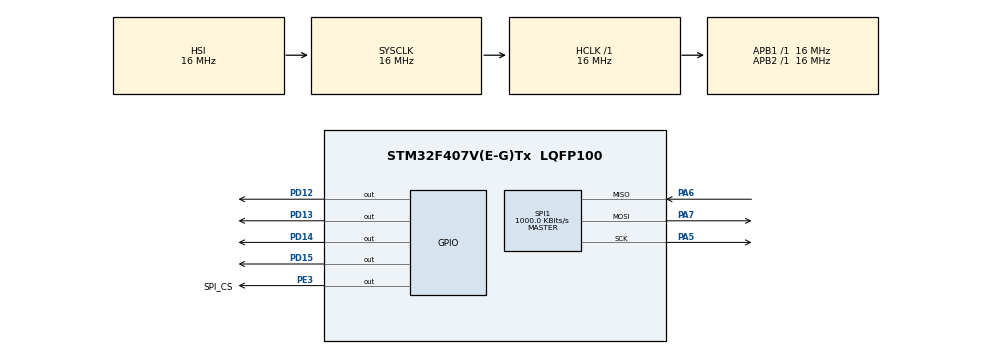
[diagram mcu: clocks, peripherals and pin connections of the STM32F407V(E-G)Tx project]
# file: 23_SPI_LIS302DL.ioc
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Mcu.Family=STM32F4
Mcu.Name=STM32F407V(E-G)Tx
Mcu.Package=LQFP100
NVIC.PriorityGroup=NVIC_PRIORITYGROUP_4
PA5.Mode=Full_Duplex_Master
PA5.Signal=SPI1_SCK
PA6.Mode=Full_Duplex_Master
PA6.Signal=SPI1_MISO
PA7.Mode=Full_Duplex_Master
PA7.Signal=SPI1_MOSI
PD12.Signal=GPIO_Output
PD13.Signal=GPIO_Output
PD14.Signal=GPIO_Output
PD15.Signal=GPIO_Output
PE3.GPIO_Label=SPI_CS
PE3.PinState=GPIO_PIN_SET
PE3.Signal=GPIO_Output
ProjectManager.HeapSize=0x200
ProjectManager.StackSize=0x400
ProjectManager.TargetToolchain=STM32CubeIDE
RCC.AHBFreq_Value=16000000
RCC.APB1Freq_Value=16000000
RCC.APB2Freq_Value=16000000
RCC.CortexFreq_Value=16000000
RCC.HSE_VALUE=25000000
RCC.HSI_VALUE=16000000
RCC.LSE_VALUE=32768
RCC.SYSCLKFreq_VALUE=16000000
RCC.VCOOutputFreq_Value=192000000
SPI1.BaudRatePrescaler=SPI_BAUDRATEPRESCALER_16
SPI1.CalculateBaudRate=1000.0 KBits/s
SPI1.DataSize=SPI_DATASIZE_8BIT
SPI1.Direction=SPI_DIRECTION_2LINES
SPI1.Mode=SPI_MODE_MASTER
SPI1.VirtualType=VM_MASTER
board=custom

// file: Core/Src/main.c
/* USER CODE BEGIN Header */
/**
 ******************************************************************************
 * @file           : main.c
 * @brief          : Main program body
 ******************************************************************************
 * @attention
 *
 * Copyright (c) 2026 STMicroelectronics.
 * All rights reserved.
 *
 * This software is licensed under terms that can be found in the LICENSE file
 * in the root directory of this software component.
 * If no LICENSE file comes with this software, it is provided AS-IS.
 *
 ******************************************************************************
 */
/* USER CODE END Header */
#include "main.h"

SPI_HandleTypeDef hspi1;

/* USER CODE BEGIN PV */
uint16_t X_axis, Y_Axis, Z_Axis;
uint8_t X_Low, X_High, Y_Low, Y_High, Z_Low, Z_High;

/* USER CODE END PV */

void SystemClock_Config(void);
static void MX_GPIO_Init(void);
static void MX_SPI1_Init(void);

/* USER CODE BEGIN 0 */
/*(#) TX/RX processes are HAL_SPI_TransmitReceive(), HAL_SPI_TransmitReceive_IT() and
 HAL_SPI_TransmitReceive_DMA()
 (#) RX processes are HAL_SPI_Receive(), HAL_SPI_Receive_IT() and HAL_SPI_Receive_DMA()
 (#) TX processes are HAL_SPI_Transmit(), HAL_SPI_Transmit_IT() and HAL_SPI_Transmit_DMA()
 */
SPI_Write_MEMS(uint8_t address, uint8_t data) {
	uint8_t txData[2] = { 0 };
	txData[0] = address;
	txData[1] = data;
	// cs pinini low yap
	HAL_GPIO_WritePin(SPI_CS_GPIO_Port, SPI_CS_Pin, GPIO_PIN_RESET); // aslında şu da aynı (GPIOE, GPIO_PIN_3, GPIO_PIN_RESET)
	// yazılacak veriyi  gönder
	HAL_SPI_Transmit(&hspi1, txData, 2, 1000);
	// CS pinini high yap
	HAL_GPIO_WritePin(SPI_CS_GPIO_Port, SPI_CS_Pin, GPIO_PIN_SET); // aslında şu da aynı (GPIOE, GPIO_PIN_3, GPIO_PIN_SET)

}

uint8_t SPI_Read_MEMS(uint8_t address) {

	uint8_t txData[1] = { 0 }, rxData[1] = { 0 };
	txData[0] = address | 0x80;   // MSB bitini 1 yaptık çünkü okuma yapmak için
	// cs pinini low yap
	HAL_GPIO_WritePin(SPI_CS_GPIO_Port, SPI_CS_Pin, GPIO_PIN_RESET); // aslında şu da aynı (GPIOE, GPIO_PIN_3, GPIO_PIN_RESET)
	// okunacak verin adersini gönder
	HAL_SPI_Transmit(&hspi1, txData, 1, 1000);
	// istenilen veriye al
	HAL_SPI_Receive(&hspi1, rxData, 1, 1000);
	// CS pinini high yap
	HAL_GPIO_WritePin(SPI_CS_GPIO_Port, SPI_CS_Pin, GPIO_PIN_SET); // aslında şu da aynı (GPIOE, GPIO_PIN_3, GPIO_PIN_SET)

	return rxData[0];
}

/* USER CODE END 0 */

int main(void) {

	/* MCU Configuration--------------------------------------------------------*/

	/* Reset of all peripherals, Initializes the Flash interface and the Systick. */
	HAL_Init();

	/* Configure the system clock */
	SystemClock_Config();

	/* Initialize all configured peripherals */
	MX_GPIO_Init();
	MX_SPI1_Init();
	/* USER CODE BEGIN 2 */

	/* uint8_t whoAmI =0 ;
	 whoAmI = SPI_Read_MEMS(0x0F);
	 */
	uint8_t ctrlReg4;
	SPI_Write_MEMS(0x20, 0x57); // 0x20 bizim datasheetten aldığımıız sensörun CTRL_REG4(20h) adresi
								// binary olarak 0101 0111 bunun karşılığı 0x57
	ctrlReg4 = SPI_Read_MEMS(0x20);
	/* USER CODE END 2 */

	/* Infinite loop */
	while (1) {

		/* USER CODE BEGIN 3 */

		X_Low = SPI_Read_MEMS(0x28);
		X_High = SPI_Read_MEMS(0x29);

		X_axis = (X_High <<8) | X_Low;

		Y_Low = SPI_Read_MEMS(0x2A);
		Y_High = SPI_Read_MEMS(0x2B);

		Y_Axis = (Y_High <<8) | Y_Low;

		Z_Low = SPI_Read_MEMS(0x2C);
		Z_High = SPI_Read_MEMS(0x2D);

		Z_Axis = (Z_High <<8) | Z_Low;

		HAL_Delay(500);

	}
	/* USER CODE END 3 */
}

void SystemClock_Config(void) {
	RCC_OscInitTypeDef RCC_OscInitStruct = { 0 };
	RCC_ClkInitTypeDef RCC_ClkInitStruct = { 0 };

	/** Configure the main internal regulator output voltage
	 */
	__HAL_RCC_PWR_CLK_ENABLE();
	__HAL_PWR_VOLTAGESCALING_CONFIG(PWR_REGULATOR_VOLTAGE_SCALE1);

	/** Initializes the RCC Oscillators according to the specified parameters
	 * in the RCC_OscInitTypeDef structure.
	 */
	RCC_OscInitStruct.OscillatorType = RCC_OSCILLATORTYPE_HSI;
	RCC_OscInitStruct.HSIState = RCC_HSI_ON;
	RCC_OscInitStruct.HSICalibrationValue = RCC_HSICALIBRATION_DEFAULT;
	RCC_OscInitStruct.PLL.PLLState = RCC_PLL_NONE;
	if (HAL_RCC_OscConfig(&RCC_OscInitStruct) != HAL_OK) {
		Error_Handler();
	}

	/** Initializes the CPU, AHB and APB buses clocks
	 */
	RCC_ClkInitStruct.ClockType = RCC_CLOCKTYPE_HCLK | RCC_CLOCKTYPE_SYSCLK
			| RCC_CLOCKTYPE_PCLK1 | RCC_CLOCKTYPE_PCLK2;
	RCC_ClkInitStruct.SYSCLKSource = RCC_SYSCLKSOURCE_HSI;
	RCC_ClkInitStruct.AHBCLKDivider = RCC_SYSCLK_DIV1;
	RCC_ClkInitStruct.APB1CLKDivider = RCC_HCLK_DIV1;
	RCC_ClkInitStruct.APB2CLKDivider = RCC_HCLK_DIV1;

	if (HAL_RCC_ClockConfig(&RCC_ClkInitStruct, FLASH_LATENCY_0) != HAL_OK) {
		Error_Handler();
	}
}

static void MX_SPI1_Init(void) {

	/* SPI1 parameter configuration*/
	hspi1.Instance = SPI1;
	hspi1.Init.Mode = SPI_MODE_MASTER;
	hspi1.Init.Direction = SPI_DIRECTION_2LINES;
	hspi1.Init.DataSize = SPI_DATASIZE_8BIT;
	hspi1.Init.CLKPolarity = SPI_POLARITY_LOW;
	hspi1.Init.CLKPhase = SPI_PHASE_1EDGE;
	hspi1.Init.NSS = SPI_NSS_SOFT;
	hspi1.Init.BaudRatePrescaler = SPI_BAUDRATEPRESCALER_16;
	hspi1.Init.FirstBit = SPI_FIRSTBIT_MSB;
	hspi1.Init.TIMode = SPI_TIMODE_DISABLE;
	hspi1.Init.CRCCalculation = SPI_CRCCALCULATION_DISABLE;
	hspi1.Init.CRCPolynomial = 10;
	if (HAL_SPI_Init(&hspi1) != HAL_OK) {
		Error_Handler();
	}

}

static void MX_GPIO_Init(void) {
	GPIO_InitTypeDef GPIO_InitStruct = { 0 };

	/* GPIO Ports Clock Enable */
	__HAL_RCC_GPIOE_CLK_ENABLE();
	__HAL_RCC_GPIOA_CLK_ENABLE();
	__HAL_RCC_GPIOD_CLK_ENABLE();

	/*Configure GPIO pin Output Level */
	HAL_GPIO_WritePin(SPI_CS_GPIO_Port, SPI_CS_Pin, GPIO_PIN_SET);

	/*Configure GPIO pin Output Level */
	HAL_GPIO_WritePin(GPIOD,
			GPIO_PIN_12 | GPIO_PIN_13 | GPIO_PIN_14 | GPIO_PIN_15,
			GPIO_PIN_RESET);

	/*Configure GPIO pin : SPI_CS_Pin */
	GPIO_InitStruct.Pin = SPI_CS_Pin;
	GPIO_InitStruct.Mode = GPIO_MODE_OUTPUT_PP;
	GPIO_InitStruct.Pull = GPIO_NOPULL;
	GPIO_InitStruct.Speed = GPIO_SPEED_FREQ_LOW;
	HAL_GPIO_Init(SPI_CS_GPIO_Port, &GPIO_InitStruct);

	/*Configure GPIO pins : PD12 PD13 PD14 PD15 */
	GPIO_InitStruct.Pin = GPIO_PIN_12 | GPIO_PIN_13 | GPIO_PIN_14 | GPIO_PIN_15;
	GPIO_InitStruct.Mode = GPIO_MODE_OUTPUT_PP;
	GPIO_InitStruct.Pull = GPIO_NOPULL;
	GPIO_InitStruct.Speed = GPIO_SPEED_FREQ_LOW;
	HAL_GPIO_Init(GPIOD, &GPIO_InitStruct);

}

void Error_Handler(void) {
	__disable_irq();
	while (1) {
	}
}
